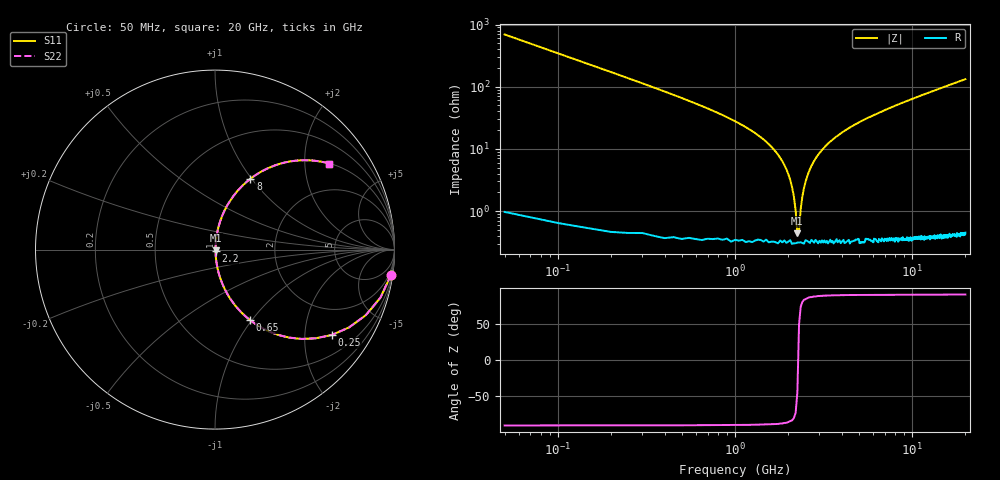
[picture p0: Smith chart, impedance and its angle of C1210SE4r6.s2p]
! AVX Thin Film Operation		Date: April 2012
! Description: Accu-P® Series, Thin Film, SMD, RF Capacitor
! Part Number: 12101J4R6ABTTR
!	50	MHz	-	20.05	GHz
!	Serial	Measurements
#	MHZ	S	MA	R	50
!	S11	S21	S12	S22
!	dB	Phase	dB	Phase	dB	Phase	dB	Phase
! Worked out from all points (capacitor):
!   400 points, 50 MHz to 20 GHz, reference 50 ohm
!   read as one part in series: C = 4.6 pF near 150 MHz
!   lowest |Z| = 436 mohm at 2.25 GHz (marker M1)
!   series resonance near 2.273 GHz, so ESL is about 1.1 nH
!   S11 on the Smith chart (normalised r, x): 50 MHz: 1, -14; 250 MHz: 1.01, -2.73; 650 MHz: 1.01, -0.98; 2.2 GHz: 1.01, -0.02; 8 GHz: 1.01, +0.99; 20 GHz: 1.01, +2.64
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50  0.99 -8.2  0.143 81.7  0.143 81.7  0.99 -8.2
150  0.916 -23.5  0.399 66.4  0.399 66.4  0.916 -23.5
250  0.806 -36.1  0.589 53.7  0.589 53.7  0.806 -36.1
450  0.593 -53.4  0.802 36.4  0.802 36.4  0.593 -53.4
650  0.438 -63.6  0.896 26.0  0.896 26.0  0.438 -63.6
1850  0.063 -83.5  0.995 3.6  0.995 3.6  0.063 -83.5
2050  0.032 -82.4  0.996 1.8  0.996 1.8  0.032 -82.4
2200  0.01 -71.5  0.997 0.6  0.997 0.6  0.01 -71.5
2250  0.004423 -43.4  0.997 0.2  0.997 0.2  0.004423 -43.4
2300  0.004834 48.3  0.997 -0.2  0.997 -0.2  0.004834 48.3
2350  0.011 71.9  0.997 -0.6  0.997 -0.6  0.011 71.9
2400  0.017 78.1  0.997 -0.9  0.997 -0.9  0.017 78.1
2600  0.041 83.2  0.996 -2.3  0.996 -2.3  0.041 83.2
2900  0.075 83.3  0.994 -4.3  0.994 -4.3  0.075 83.3
3400  0.125 81.4  0.989 -7.2  0.989 -7.2  0.125 81.4
4750  0.238 75.5  0.968 -13.7  0.968 -13.7  0.238 75.5
6700  0.368 67.9  0.927 -21.6  0.927 -21.6  0.368 67.9
8000  0.441 63.4  0.895 -26.1  0.895 -26.1  0.441 63.4
10050  0.537 57.2  0.841 -32.5  0.841 -32.5  0.537 57.2
13350  0.654 48.9  0.753 -40.9  0.753 -40.9  0.654 48.9
16700  0.738 42.2  0.672 -47.6  0.672 -47.6  0.738 42.2
20000  0.796 37.0  0.602 -52.8  0.602 -52.8  0.796 37.0
